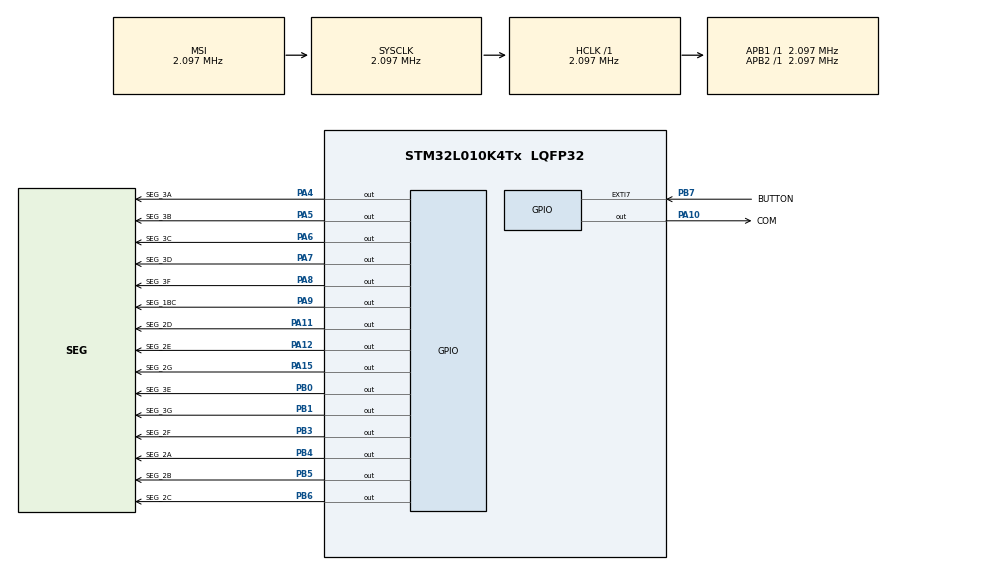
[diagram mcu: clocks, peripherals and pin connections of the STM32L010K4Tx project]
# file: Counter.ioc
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Mcu.Family=STM32L0
Mcu.Name=STM32L010K4Tx
Mcu.Package=LQFP32
NVIC.EXTI4_15_IRQn=true\:0\:0\:false\:false\:true\:true\:true\:true
NVIC.RTC_IRQn=true\:0\:0\:false\:false\:true\:true\:true\:true
PA10.GPIO_Label=COM
PA10.Signal=GPIO_Output
PA11.GPIO_Label=SEG_2D
PA11.Signal=GPIO_Output
PA12.GPIO_Label=SEG_2E
PA12.Signal=GPIO_Output
PA13.Mode=Serial_Wire
PA13.Signal=SYS_SWDIO
PA14.Mode=Serial_Wire
PA14.Signal=SYS_SWCLK
PA15.GPIO_Label=SEG_2G
PA15.Signal=GPIO_Output
PA4.GPIO_Label=SEG_3A
PA4.Signal=GPIO_Output
PA5.GPIO_Label=SEG_3B
PA5.Signal=GPIO_Output
PA6.GPIO_Label=SEG_3C
PA6.Signal=GPIO_Output
PA7.GPIO_Label=SEG_3D
PA7.Signal=GPIO_Output
PA8.GPIO_Label=SEG_3F
PA8.Signal=GPIO_Output
PA9.GPIO_Label=SEG_1BC
PA9.Signal=GPIO_Output
PB0.GPIO_Label=SEG_3E
PB0.Signal=GPIO_Output
PB1.GPIO_Label=SEG_3G
PB1.Signal=GPIO_Output
PB3.GPIO_Label=SEG_2F
PB3.Signal=GPIO_Output
PB4.GPIO_Label=SEG_2A
PB4.Signal=GPIO_Output
PB5.GPIO_Label=SEG_2B
PB5.Signal=GPIO_Output
PB6.GPIO_Label=SEG_2C
PB6.Signal=GPIO_Output
PB7.GPIO_Label=BUTTON
PB7.GPIO_ModeDefaultEXTI=GPIO_MODE_IT_RISING
PB7.GPIO_PuPd=GPIO_PULLUP
PB7.Signal=GPXTI7
PC14-OSC32_IN.Mode=LSE-External-Clock-Source
PC14-OSC32_IN.Signal=RCC_OSC32_IN
ProjectManager.HeapSize=0x200
ProjectManager.StackSize=0x400
ProjectManager.TargetToolchain=STM32CubeIDE
RCC.AHBFreq_Value=2097000
RCC.APB1Freq_Value=2097000
RCC.APB1TimFreq_Value=2097000
RCC.APB2Freq_Value=2097000
RCC.APB2TimFreq_Value=2097000
RCC.HCLKFreq_Value=2097000
RCC.HSE_VALUE=8000000
RCC.HSI16_VALUE=16000000
RCC.HSI_VALUE=16000000
RCC.LSE_VALUE=32768
RCC.MSI_VALUE=2097000
RCC.PREFETCH_ENABLE=0
RCC.RTCClockSelection=RCC_RTCCLKSOURCE_LSE
RCC.RTCClockSelectionVirtual=RCC_RTCCLKSOURCE_LSE
RCC.SYSCLKFreq_VALUE=2097000
RCC.VCOOutputFreq_Value=48000000
RTC.WakeUpCounter-WakeUp=64
VP_RTC_VS_RTC_Activate.Mode=RTC_Enabled
VP_RTC_VS_RTC_WakeUp_intern.Mode=WakeUp
board=custom

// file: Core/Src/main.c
/* USER CODE BEGIN Header */
/**
  ******************************************************************************
  * @file           : main.c
  * @brief          : Main program body
  ******************************************************************************
  * @attention
  *
  * Copyright (c) 2024 STMicroelectronics.
  * All rights reserved.
  *
  * This software is licensed under terms that can be found in the LICENSE file
  * in the root directory of this software component.
  * If no LICENSE file comes with this software, it is provided AS-IS.
  *
  ******************************************************************************
  */
/* USER CODE END Header */
#include "main.h"

/* USER CODE BEGIN Includes */
#include <stdatomic.h>
#include <stdint.h>

#include "display.h"
/* USER CODE END Includes */

RTC_HandleTypeDef hrtc;

/* USER CODE BEGIN PV */
const static unsigned TICKS_PER_SECOND = 32;
const static unsigned TICKS_PER_PERIOD = TICKS_PER_SECOND * 60 * 60 * 24; // Days.
//const static unsigned TICKS_PER_PERIOD = TICKS_PER_SECOND / 2; // Half-seconds, for testing.
const static unsigned MAXIMUM_COUNT = 199;

// Cleared when there is a button press to acknowledge. Set when it's been acknowledged.
volatile static atomic_flag button_flag = ATOMIC_FLAG_INIT;
/* USER CODE END PV */

void SystemClock_Config(void);
static void MX_GPIO_Init(void);
static void MX_RTC_Init(void);

/* USER CODE BEGIN 0 */

void HAL_GPIO_EXTI_Callback(uint16_t GPIO_Pin)
{
	atomic_flag_clear(&button_flag);
}

/* USER CODE END 0 */

int main(void)
{

  /* USER CODE BEGIN 1 */
  atomic_flag_test_and_set(&button_flag);
  /* USER CODE END 1 */

  /* MCU Configuration--------------------------------------------------------*/

  /* Reset of all peripherals, Initializes the Flash interface and the Systick. */
  HAL_Init();

  /* Configure the system clock */
  SystemClock_Config();

  /* Initialize all configured peripherals */
  MX_GPIO_Init();
  MX_RTC_Init();
  /* USER CODE BEGIN 2 */
  _Bool phase = 0;

  // As a uint64_t, we could have 1 tick per nanosecond and this could still count hundreds of years.
  uint64_t ticks_since_last_clear = 0;
  /* USER CODE END 2 */

  /* Infinite loop */
  /* USER CODE BEGIN WHILE */
  while (1)
  {
	  const _Bool button_pressed_since_last_loop = !atomic_flag_test_and_set(&button_flag);
	  if (button_pressed_since_last_loop)
	  {
		  ticks_since_last_clear = 0;
	  }

	  const unsigned current_count = ticks_since_last_clear / TICKS_PER_PERIOD % (MAXIMUM_COUNT + 1);

	  write_display_pins(encode_number(current_count), phase);

	  ticks_since_last_clear++;
	  phase = !phase;

	  __HAL_PWR_CLEAR_FLAG(PWR_FLAG_WU);
	  HAL_PWR_EnterSTOPMode(PWR_LOWPOWERREGULATOR_ON, PWR_STOPENTRY_WFI);

    /* USER CODE END WHILE */

  }
}

void SystemClock_Config(void)
{
  RCC_OscInitTypeDef RCC_OscInitStruct = {0};
  RCC_ClkInitTypeDef RCC_ClkInitStruct = {0};
  RCC_PeriphCLKInitTypeDef PeriphClkInit = {0};

  /** Configure the main internal regulator output voltage
  */
  __HAL_PWR_VOLTAGESCALING_CONFIG(PWR_REGULATOR_VOLTAGE_SCALE1);

  /** Initializes the RCC Oscillators according to the specified parameters
  * in the RCC_OscInitTypeDef structure.
  */
  RCC_OscInitStruct.OscillatorType = RCC_OSCILLATORTYPE_LSE|RCC_OSCILLATORTYPE_MSI;
  RCC_OscInitStruct.LSEState = RCC_LSE_BYPASS;
  RCC_OscInitStruct.MSIState = RCC_MSI_ON;
  RCC_OscInitStruct.MSICalibrationValue = 0;
  RCC_OscInitStruct.MSIClockRange = RCC_MSIRANGE_5;
  RCC_OscInitStruct.PLL.PLLState = RCC_PLL_NONE;
  if (HAL_RCC_OscConfig(&RCC_OscInitStruct) != HAL_OK)
  {
    Error_Handler();
  }

  /** Initializes the CPU, AHB and APB buses clocks
  */
  RCC_ClkInitStruct.ClockType = RCC_CLOCKTYPE_HCLK|RCC_CLOCKTYPE_SYSCLK
                              |RCC_CLOCKTYPE_PCLK1|RCC_CLOCKTYPE_PCLK2;
  RCC_ClkInitStruct.SYSCLKSource = RCC_SYSCLKSOURCE_MSI;
  RCC_ClkInitStruct.AHBCLKDivider = RCC_SYSCLK_DIV1;
  RCC_ClkInitStruct.APB1CLKDivider = RCC_HCLK_DIV1;
  RCC_ClkInitStruct.APB2CLKDivider = RCC_HCLK_DIV1;

  if (HAL_RCC_ClockConfig(&RCC_ClkInitStruct, FLASH_LATENCY_0) != HAL_OK)
  {
    Error_Handler();
  }
  PeriphClkInit.PeriphClockSelection = RCC_PERIPHCLK_RTC;
  PeriphClkInit.RTCClockSelection = RCC_RTCCLKSOURCE_LSE;
  if (HAL_RCCEx_PeriphCLKConfig(&PeriphClkInit) != HAL_OK)
  {
    Error_Handler();
  }
}

static void MX_RTC_Init(void)
{

  /** Initialize RTC Only
  */
  hrtc.Instance = RTC;
  hrtc.Init.HourFormat = RTC_HOURFORMAT_24;
  hrtc.Init.AsynchPrediv = 127;
  hrtc.Init.SynchPrediv = 255;
  hrtc.Init.OutPut = RTC_OUTPUT_DISABLE;
  hrtc.Init.OutPutRemap = RTC_OUTPUT_REMAP_NONE;
  hrtc.Init.OutPutPolarity = RTC_OUTPUT_POLARITY_HIGH;
  hrtc.Init.OutPutType = RTC_OUTPUT_TYPE_OPENDRAIN;
  if (HAL_RTC_Init(&hrtc) != HAL_OK)
  {
    Error_Handler();
  }

  /** Enable the WakeUp
  */
  if (HAL_RTCEx_SetWakeUpTimer_IT(&hrtc, 64, RTC_WAKEUPCLOCK_RTCCLK_DIV16) != HAL_OK)
  {
    Error_Handler();
  }

}

static void MX_GPIO_Init(void)
{
  GPIO_InitTypeDef GPIO_InitStruct = {0};

  /* GPIO Ports Clock Enable */
  __HAL_RCC_GPIOC_CLK_ENABLE();
  __HAL_RCC_GPIOA_CLK_ENABLE();
  __HAL_RCC_GPIOB_CLK_ENABLE();

  /*Configure GPIO pin Output Level */
  HAL_GPIO_WritePin(GPIOA, SEG_3A_Pin|SEG_3B_Pin|SEG_3C_Pin|SEG_3D_Pin
                          |SEG_3F_Pin|SEG_1BC_Pin|COM_Pin|SEG_2D_Pin
                          |SEG_2E_Pin|SEG_2G_Pin, GPIO_PIN_RESET);

  /*Configure GPIO pin Output Level */
  HAL_GPIO_WritePin(GPIOB, SEG_3E_Pin|SEG_3G_Pin|SEG_2F_Pin|SEG_2A_Pin
                          |SEG_2B_Pin|SEG_2C_Pin, GPIO_PIN_RESET);

  /*Configure GPIO pins : SEG_3A_Pin SEG_3B_Pin SEG_3C_Pin SEG_3D_Pin
                           SEG_3F_Pin SEG_1BC_Pin COM_Pin SEG_2D_Pin
                           SEG_2E_Pin SEG_2G_Pin */
  GPIO_InitStruct.Pin = SEG_3A_Pin|SEG_3B_Pin|SEG_3C_Pin|SEG_3D_Pin
                          |SEG_3F_Pin|SEG_1BC_Pin|COM_Pin|SEG_2D_Pin
                          |SEG_2E_Pin|SEG_2G_Pin;
  GPIO_InitStruct.Mode = GPIO_MODE_OUTPUT_PP;
  GPIO_InitStruct.Pull = GPIO_NOPULL;
  GPIO_InitStruct.Speed = GPIO_SPEED_FREQ_LOW;
  HAL_GPIO_Init(GPIOA, &GPIO_InitStruct);

  /*Configure GPIO pins : SEG_3E_Pin SEG_3G_Pin SEG_2F_Pin SEG_2A_Pin
                           SEG_2B_Pin SEG_2C_Pin */
  GPIO_InitStruct.Pin = SEG_3E_Pin|SEG_3G_Pin|SEG_2F_Pin|SEG_2A_Pin
                          |SEG_2B_Pin|SEG_2C_Pin;
  GPIO_InitStruct.Mode = GPIO_MODE_OUTPUT_PP;
  GPIO_InitStruct.Pull = GPIO_NOPULL;
  GPIO_InitStruct.Speed = GPIO_SPEED_FREQ_LOW;
  HAL_GPIO_Init(GPIOB, &GPIO_InitStruct);

  /*Configure GPIO pin : BUTTON_Pin */
  GPIO_InitStruct.Pin = BUTTON_Pin;
  GPIO_InitStruct.Mode = GPIO_MODE_IT_RISING;
  GPIO_InitStruct.Pull = GPIO_PULLUP;
  HAL_GPIO_Init(BUTTON_GPIO_Port, &GPIO_InitStruct);

  /* EXTI interrupt init*/
  HAL_NVIC_SetPriority(EXTI4_15_IRQn, 0, 0);
  HAL_NVIC_EnableIRQ(EXTI4_15_IRQn);

}

void Error_Handler(void)
{
  __disable_irq();
  while (1)
  {
  }
}
